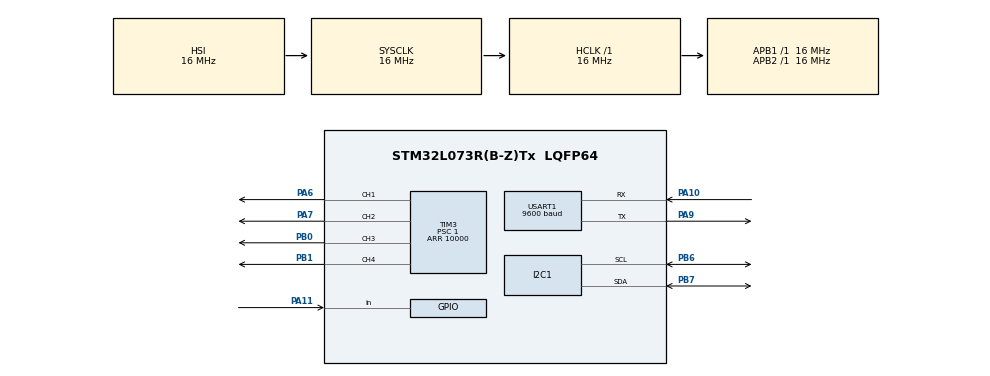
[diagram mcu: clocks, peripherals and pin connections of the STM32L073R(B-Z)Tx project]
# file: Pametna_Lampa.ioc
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I2C1.Timing=0x00303D5B
Mcu.Family=STM32L0
Mcu.Name=STM32L073R(B-Z)Tx
Mcu.Package=LQFP64
NVIC.TIM6_DAC_IRQn=true\:3\:0\:true\:false\:true\:true\:true
NVIC.TIM7_IRQn=true\:3\:0\:true\:false\:true\:true\:true
NVIC.USART1_IRQn=true\:3\:0\:true\:false\:true\:true\:true
PA10.Mode=Asynchronous
PA10.Signal=USART1_RX
PA11.Signal=GPIO_Input
PA13.Mode=Serial_Wire
PA13.Signal=SYS_SWDIO
PA14.Mode=Serial_Wire
PA14.Signal=SYS_SWCLK
PA6.Signal=S_TIM3_CH1
PA7.Signal=S_TIM3_CH2
PA9.Mode=Asynchronous
PA9.Signal=USART1_TX
PB0.Signal=S_TIM3_CH3
PB1.Signal=S_TIM3_CH4
PB6.Mode=I2C
PB6.Signal=I2C1_SCL
PB7.Mode=I2C
PB7.Signal=I2C1_SDA
ProjectManager.HeapSize=0x200
ProjectManager.StackSize=0x400
ProjectManager.TargetToolchain=SW4STM32
RCC.AHBFreq_Value=16000000
RCC.APB1Freq_Value=16000000
RCC.APB1TimFreq_Value=16000000
RCC.APB2Freq_Value=16000000
RCC.APB2TimFreq_Value=16000000
RCC.HCLKFreq_Value=16000000
RCC.HSE_VALUE=8000000
RCC.HSI16_VALUE=16000000
RCC.HSI48_VALUE=48000000
RCC.HSI_VALUE=16000000
RCC.LSE_VALUE=32768
RCC.MSI_VALUE=2097000
RCC.SYSCLKFreq_VALUE=16000000
RCC.SYSCLKSource=RCC_SYSCLKSOURCE_HSI
RCC.VCOOutputFreq_Value=48000000
SH.S_TIM3_CH1.0=TIM3_CH1,PWM Generation1 CH1
SH.S_TIM3_CH2.0=TIM3_CH2,PWM Generation2 CH2
SH.S_TIM3_CH3.0=TIM3_CH3,PWM Generation3 CH3
SH.S_TIM3_CH4.0=TIM3_CH4,PWM Generation4 CH4
TIM3.Channel-PWM\ Generation1\ CH1=TIM_CHANNEL_1
TIM3.Channel-PWM\ Generation2\ CH2=TIM_CHANNEL_2
TIM3.Channel-PWM\ Generation3\ CH3=TIM_CHANNEL_3
TIM3.Channel-PWM\ Generation4\ CH4=TIM_CHANNEL_4
TIM3.Period=10000
TIM3.Prescaler=1
TIM6.Period=1000
TIM6.Prescaler=15999
TIM7.Period=1000
TIM7.Prescaler=15999
USART1.BaudRate=9600
USART1.DMADisableonRxErrorParam=ADVFEATURE_DMA_DISABLEONRXERROR
USART1.OverrunDisableParam=ADVFEATURE_OVERRUN_DISABLE
USART1.SwapParam=ADVFEATURE_SWAP_ENABLE
USART1.VirtualMode-Asynchronous=VM_ASYNC
VP_TIM6_VS_ClockSourceINT.Mode=Enable_Timer
VP_TIM7_VS_ClockSourceINT.Mode=Enable_Timer
board=custom

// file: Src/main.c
/* USER CODE BEGIN Header */
/**
  ******************************************************************************
  * @file           : main.c
  * @brief          : Main program body
  ******************************************************************************
  * @attention
  *
  * <h2><center>&copy; Copyright (c) 2020 STMicroelectronics.
  * All rights reserved.</center></h2>
  *
  * This software component is licensed by ST under BSD 3-Clause license,
  * the "License"; You may not use this file except in compliance with the
  * License. You may obtain a copy of the License at:
  *                        opensource.org/licenses/BSD-3-Clause
  *
  ******************************************************************************
  */
/* USER CODE END Header */

#include "main.h"
#include "i2c.h"
#include "tim.h"
#include "usart.h"
#include "gpio.h"

/* USER CODE BEGIN Includes */

#include <BSP/ble.h>
#include <BSP/led.h>
#include <BSP/max17048.h>
#include "stm32l0xx_it.h"

/* USER CODE END Includes */

/* USER CODE BEGIN PV */

//volatile uint8_t g_End_ID;

/* USER CODE END PV */

void SystemClock_Config(void);

int main(void)
{

  /* MCU Configuration--------------------------------------------------------*/

  /* Reset of all peripherals, Initializes the Flash interface and the Systick. */
  HAL_Init();

  /* Configure the system clock */
  SystemClock_Config();

  /* Initialize all configured peripherals */
  MX_GPIO_Init();
  MX_USART1_UART_Init();
  MX_I2C1_Init();
  MX_TIM3_Init();
  MX_TIM6_Init();
  MX_TIM7_Init();
  /* USER CODE BEGIN 2 */

  HAL_TIM_PWM_Start(&htim3, TIM_CHANNEL_1);
  HAL_TIM_PWM_Start(&htim3, TIM_CHANNEL_2);
  HAL_TIM_PWM_Start(&htim3, TIM_CHANNEL_3);
  HAL_TIM_PWM_Start(&htim3, TIM_CHANNEL_4);

  /* USER CODE END 2 */

  /* Infinite loop */
  /* USER CODE BEGIN WHILE */
  while (1)
  {

	ble_check_for_input(&huart1, 100);

	if (g_voltage_flag == 1)
	{
		read_voltage();
		g_voltage_flag = 0;
	}

	if (g_led_flag == 1)
	{
		led_toggle();

		g_led_flag = 0;
	}

    /* USER CODE END WHILE */

  }
}

void SystemClock_Config(void)
{
  RCC_OscInitTypeDef RCC_OscInitStruct = {0};
  RCC_ClkInitTypeDef RCC_ClkInitStruct = {0};
  RCC_PeriphCLKInitTypeDef PeriphClkInit = {0};

  /** Configure the main internal regulator output voltage
  */
  __HAL_PWR_VOLTAGESCALING_CONFIG(PWR_REGULATOR_VOLTAGE_SCALE1);
  /** Initializes the CPU, AHB and APB busses clocks
  */
  RCC_OscInitStruct.OscillatorType = RCC_OSCILLATORTYPE_HSI;
  RCC_OscInitStruct.HSIState = RCC_HSI_ON;
  RCC_OscInitStruct.HSICalibrationValue = RCC_HSICALIBRATION_DEFAULT;
  RCC_OscInitStruct.PLL.PLLState = RCC_PLL_NONE;
  if (HAL_RCC_OscConfig(&RCC_OscInitStruct) != HAL_OK)
  {
    Error_Handler();
  }
  /** Initializes the CPU, AHB and APB busses clocks
  */
  RCC_ClkInitStruct.ClockType = RCC_CLOCKTYPE_HCLK|RCC_CLOCKTYPE_SYSCLK
                              |RCC_CLOCKTYPE_PCLK1|RCC_CLOCKTYPE_PCLK2;
  RCC_ClkInitStruct.SYSCLKSource = RCC_SYSCLKSOURCE_HSI;
  RCC_ClkInitStruct.AHBCLKDivider = RCC_SYSCLK_DIV1;
  RCC_ClkInitStruct.APB1CLKDivider = RCC_HCLK_DIV1;
  RCC_ClkInitStruct.APB2CLKDivider = RCC_HCLK_DIV1;

  if (HAL_RCC_ClockConfig(&RCC_ClkInitStruct, FLASH_LATENCY_0) != HAL_OK)
  {
    Error_Handler();
  }
  PeriphClkInit.PeriphClockSelection = RCC_PERIPHCLK_USART1|RCC_PERIPHCLK_I2C1;
  PeriphClkInit.Usart1ClockSelection = RCC_USART1CLKSOURCE_PCLK2;
  PeriphClkInit.I2c1ClockSelection = RCC_I2C1CLKSOURCE_PCLK1;
  if (HAL_RCCEx_PeriphCLKConfig(&PeriphClkInit) != HAL_OK)
  {
    Error_Handler();
  }
}

void Error_Handler(void)
{
}

/************************ (C) COPYRIGHT STMicroelectronics *****END OF FILE****/
